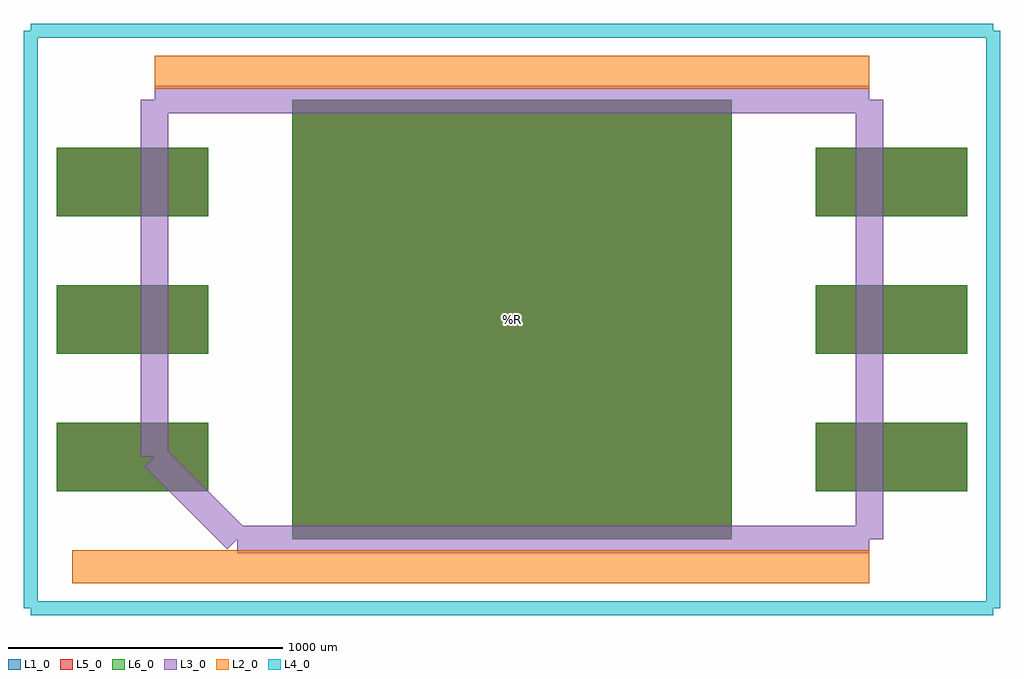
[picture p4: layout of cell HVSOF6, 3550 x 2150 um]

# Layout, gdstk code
import gdstk
lib = gdstk.Library(unit=1e-6, precision=1e-09)
def R(c, l, rs):  # rectangles x0, y0, x1, y1
    for r in rs: c.add(gdstk.rectangle(r[:2], r[2:], *l))
def A(c, l, x, y, w, h, nx, ny, dx, dy):  # array of equal rectangles
    R(c, l, [(x+i*dx, y+j*dy, x+i*dx+w, y+j*dy+h) for i in range(nx) for j in range(ny)])
L1_0 = (1, 0)
L2_0 = (2, 0)
L3_0 = (3, 0)
L4_0 = (4, 0)
L5_0 = (5, 0)
L6_0 = (6, 0)

hvsof6 = lib.new_cell('HVSOF6')
A(hvsof6, L1_0, -1655, -625, 550, 250, 1, 3, 0, 500)
A(hvsof6, L1_0, 1105, -625, 550, 250, 1, 3, 0, 500)
R(hvsof6, L1_0, [(-800,-800,800,800)])
A(hvsof6, L5_0, -1655, -625, 550, 250, 1, 3, 0, 500)
A(hvsof6, L5_0, 1105, -625, 550, 250, 1, 3, 0, 500)
R(hvsof6, L5_0, [(-800,-800,800,800)])
A(hvsof6, L6_0, -1655, -625, 550, 250, 1, 3, 0, 500)
A(hvsof6, L6_0, 1105, -625, 550, 250, 1, 3, 0, 500)
R(hvsof6, L6_0, [(-800,-800,800,800)])
hvsof6.add(gdstk.FlexPath([(-1600,-900),(1300,-900)], 120, ends="flush", simple_path=True, layer=2, datatype=0))  # L2_0
hvsof6.add(gdstk.FlexPath([(-1300,900),(1300,900)], 120, ends="flush", simple_path=True, layer=2, datatype=0))  # L2_0
hvsof6.add(gdstk.FlexPath([(-1000,-800),(1300,-800)], 100, ends="flush", simple_path=True, layer=3, datatype=0))  # L3_0
hvsof6.add(gdstk.FlexPath([(1300,800),(-1300,800)], 100, ends="flush", simple_path=True, layer=3, datatype=0))  # L3_0
hvsof6.add(gdstk.FlexPath([(-1300,-500),(-1000,-800)], 100, ends="flush", simple_path=True, layer=3, datatype=0))  # L3_0
hvsof6.add(gdstk.FlexPath([(-1300,-500),(-1300,800)], 100, ends="flush", simple_path=True, layer=3, datatype=0))  # L3_0
hvsof6.add(gdstk.FlexPath([(1300,-800),(1300,800)], 100, ends="flush", simple_path=True, layer=3, datatype=0))  # L3_0
hvsof6.add(gdstk.FlexPath([(-1750,-1050),(1750,-1050)], 50, ends="flush", simple_path=True, layer=4, datatype=0))  # L4_0
hvsof6.add(gdstk.FlexPath([(-1750,-1050),(-1750,1050)], 50, ends="flush", simple_path=True, layer=4, datatype=0))  # L4_0
hvsof6.add(gdstk.FlexPath([(1750,1050),(1750,-1050)], 50, ends="flush", simple_path=True, layer=4, datatype=0))  # L4_0
hvsof6.add(gdstk.FlexPath([(1750,1050),(-1750,1050)], 50, ends="flush", simple_path=True, layer=4, datatype=0))  # L4_0
hvsof6.add(gdstk.Label('REF**', (0,-1800), layer=2, texttype=0))
hvsof6.add(gdstk.Label('HVSOF6', (0,1900), layer=3, texttype=0))
hvsof6.add(gdstk.Label('%R', (0,0), layer=3, texttype=0))

lib.write_gds('HVSOF6.gds')
